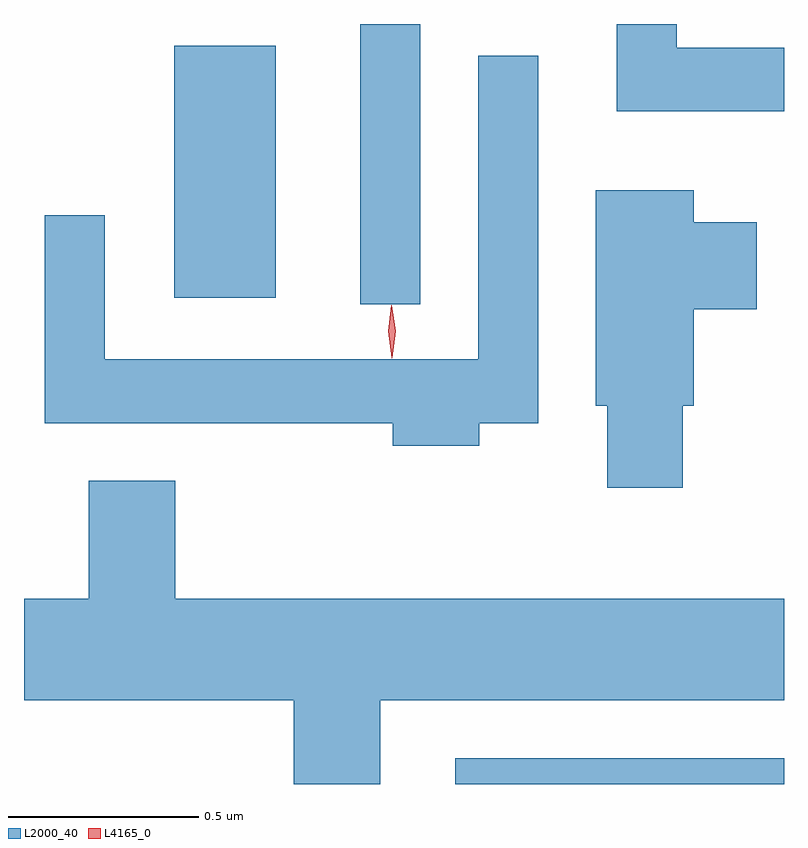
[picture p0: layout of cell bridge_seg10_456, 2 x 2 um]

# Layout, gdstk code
import gdstk
lib = gdstk.Library(unit=1e-6, precision=1e-09)
def R(c, l, rs):  # rectangles x0, y0, x1, y1
    for r in rs: c.add(gdstk.rectangle(r[:2], r[2:], *l))
def P(c, l, *ps):  # polygons
    for p in ps: c.add(gdstk.Polygon(p, *l))
L2000_40 = (2000, 40)
L4165_0 = (4165, 0)

bridge_seg10_456 = lib.new_cell('bridge_seg10_456')
R(bridge_seg10_456, L2000_40, [(1397.786,2133.676,1398.651,2133.744), (1397.536,2134.938,1397.694,2135.676), (1397.046,2134.956,1397.314,2135.619)])
P(bridge_seg10_456, L2000_40, [(1398.651,2135.614),(1398.369,2135.614),(1398.369,2135.676),(1398.211,2135.676),(1398.211,2135.446),(1398.651,2135.446)],
  [(1397.849,2134.626),(1398.004,2134.626),(1398.004,2135.593),(1397.846,2135.593),(1397.846,2134.794),(1396.864,2134.794),(1396.864,2135.173),(1396.706,2135.173),(1396.706,2134.626),(1397.621,2134.626),(1397.621,2134.566),(1397.849,2134.566)],
  [(1398.384,2134.671),(1398.414,2134.671),(1398.414,2134.926),(1398.579,2134.926),(1398.579,2135.154),(1398.414,2135.154),(1398.414,2135.239),(1398.156,2135.239),(1398.156,2134.671),(1398.186,2134.671),(1398.186,2134.456),(1398.384,2134.456)],
  [(1397.589,2133.896),(1398.651,2133.896),(1398.651,2134.164),(1397.049,2134.164),(1397.049,2134.474),(1396.821,2134.474),(1396.821,2134.164),(1396.651,2134.164),(1396.651,2133.896),(1397.361,2133.896),(1397.361,2133.676),(1397.589,2133.676)])
P(bridge_seg10_456, L4165_0, [(1397.619,2134.797),(1397.619,2134.798),(1397.609,2134.867),(1397.618,2134.936),(1397.619,2134.936),(1397.619,2134.936),(1397.629,2134.867),(1397.62,2134.798)])

lib.write_gds('bridge_seg10_456.gds')
